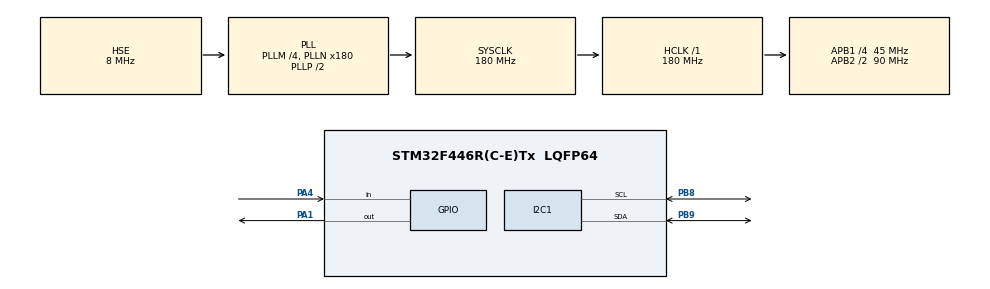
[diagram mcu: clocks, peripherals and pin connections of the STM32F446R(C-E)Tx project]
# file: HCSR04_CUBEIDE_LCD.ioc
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Mcu.Family=STM32F4
Mcu.Name=STM32F446R(C-E)Tx
Mcu.Package=LQFP64
NVIC.PriorityGroup=NVIC_PRIORITYGROUP_4
PA1.Signal=GPIO_Output
PA4.Signal=GPIO_Input
PB8.Mode=I2C
PB8.Signal=I2C1_SCL
PB9.Mode=I2C
PB9.Signal=I2C1_SDA
PH0-OSC_IN.Mode=HSE-External-Oscillator
PH0-OSC_IN.Signal=RCC_OSC_IN
PH1-OSC_OUT.Mode=HSE-External-Oscillator
PH1-OSC_OUT.Signal=RCC_OSC_OUT
ProjectManager.HeapSize=0x200
ProjectManager.StackSize=0x400
ProjectManager.TargetToolchain=STM32CubeIDE
RCC.AHBFreq_Value=180000000
RCC.APB1CLKDivider=RCC_HCLK_DIV4
RCC.APB1Freq_Value=45000000
RCC.APB1TimFreq_Value=90000000
RCC.APB2CLKDivider=RCC_HCLK_DIV2
RCC.APB2Freq_Value=90000000
RCC.APB2TimFreq_Value=180000000
RCC.CortexFreq_Value=180000000
RCC.HCLKFreq_Value=180000000
RCC.HSE_VALUE=8000000
RCC.PLLM=4
RCC.PLLN=180
RCC.PLLSourceVirtual=RCC_PLLSOURCE_HSE
RCC.SYSCLKFreq_VALUE=180000000
RCC.SYSCLKSource=RCC_SYSCLKSOURCE_PLLCLK
RCC.USBFreq_Value=180000000
RCC.VCOOutputFreq_Value=360000000
TIM1.Period=0xffff-1
TIM1.Prescaler=90-1
VP_TIM1_VS_ClockSourceINT.Mode=Internal
board=custom

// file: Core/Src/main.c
/* USER CODE BEGIN Header */
/**
  ******************************************************************************
  * @file           : main.c
  * @brief          : Main program body
  ******************************************************************************
  * @attention
  *
  * <h2><center>&copy; Copyright (c) 2019 STMicroelectronics.
  * All rights reserved.</center></h2>
  *
  * This software component is licensed by ST under BSD 3-Clause license,
  * the "License"; You may not use this file except in compliance with the
  * License. You may obtain a copy of the License at:
  *                        opensource.org/licenses/BSD-3-Clause
  *
  ******************************************************************************
  */
/* USER CODE END Header */

#include "main.h"

/* USER CODE BEGIN Includes */
#include "i2c-lcd.h"
/* USER CODE END Includes */

I2C_HandleTypeDef hi2c1;

TIM_HandleTypeDef htim1;

void SystemClock_Config(void);
static void MX_GPIO_Init(void);
static void MX_I2C1_Init(void);
static void MX_TIM1_Init(void);

/* USER CODE BEGIN 0 */
void delay (uint32_t us)
{
	__HAL_TIM_SET_COUNTER(&htim1, 0);
	while ((__HAL_TIM_GET_COUNTER(&htim1))<us);
}

uint32_t local_time, sensor_time;
uint32_t distance;

uint32_t hcsr04_read (void)
{
	local_time=0;
	HAL_GPIO_WritePin(GPIOA, GPIO_PIN_1, GPIO_PIN_RESET);  // pull the TRIG pin HIGH
	delay(2);  // wait for 2 us

	HAL_GPIO_WritePin(GPIOA, GPIO_PIN_1, GPIO_PIN_SET);  // pull the TRIG pin HIGH
	delay(10);  // wait for 10 us
	HAL_GPIO_WritePin(GPIOA, GPIO_PIN_1, GPIO_PIN_RESET);  // pull the TRIG pin low

	// read the time for which the pin is high

	while (!(HAL_GPIO_ReadPin(GPIOA, GPIO_PIN_4)));  // wait for the ECHO pin to go high
	while (HAL_GPIO_ReadPin(GPIOA, GPIO_PIN_4))    // while the pin is high
	 {
		local_time++;   // measure time for which the pin is high
		delay (1);
	 }
	return local_time;
}

/* USER CODE END 0 */

int main(void)
{

  /* MCU Configuration--------------------------------------------------------*/

  /* Reset of all peripherals, Initializes the Flash interface and the Systick. */
  HAL_Init();

  /* Configure the system clock */
  SystemClock_Config();

  /* Initialize all configured peripherals */
  MX_GPIO_Init();
  MX_I2C1_Init();
  MX_TIM1_Init();
  /* USER CODE BEGIN 2 */

  HAL_TIM_Base_Start(&htim1);

  lcd_init();

  /* USER CODE END 2 */

  /* Infinite loop */
  while (1)
  {

    /* USER CODE BEGIN 3 */
	  sensor_time = hcsr04_read();
	  distance  = sensor_time * .034/2;

	  lcd_send_cmd(0x80);
	  lcd_send_string("DIST ");
	  lcd_send_data((distance/100)+48);  // 100 position
	  lcd_send_data(((distance%100)/10)+48);  // 10 position
	  lcd_send_data((distance%10)+48);  // 1 position

	  HAL_Delay(200);
  }
  /* USER CODE END 3 */
}

void SystemClock_Config(void)
{
  RCC_OscInitTypeDef RCC_OscInitStruct = {0};
  RCC_ClkInitTypeDef RCC_ClkInitStruct = {0};

  /** Configure the main internal regulator output voltage
  */
  __HAL_RCC_PWR_CLK_ENABLE();
  __HAL_PWR_VOLTAGESCALING_CONFIG(PWR_REGULATOR_VOLTAGE_SCALE1);
  /** Initializes the CPU, AHB and APB busses clocks
  */
  RCC_OscInitStruct.OscillatorType = RCC_OSCILLATORTYPE_HSE;
  RCC_OscInitStruct.HSEState = RCC_HSE_ON;
  RCC_OscInitStruct.PLL.PLLState = RCC_PLL_ON;
  RCC_OscInitStruct.PLL.PLLSource = RCC_PLLSOURCE_HSE;
  RCC_OscInitStruct.PLL.PLLM = 4;
  RCC_OscInitStruct.PLL.PLLN = 180;
  RCC_OscInitStruct.PLL.PLLP = RCC_PLLP_DIV2;
  RCC_OscInitStruct.PLL.PLLQ = 2;
  RCC_OscInitStruct.PLL.PLLR = 2;
  if (HAL_RCC_OscConfig(&RCC_OscInitStruct) != HAL_OK)
  {
    Error_Handler();
  }
  /** Activate the Over-Drive mode
  */
  if (HAL_PWREx_EnableOverDrive() != HAL_OK)
  {
    Error_Handler();
  }
  /** Initializes the CPU, AHB and APB busses clocks
  */
  RCC_ClkInitStruct.ClockType = RCC_CLOCKTYPE_HCLK|RCC_CLOCKTYPE_SYSCLK
                              |RCC_CLOCKTYPE_PCLK1|RCC_CLOCKTYPE_PCLK2;
  RCC_ClkInitStruct.SYSCLKSource = RCC_SYSCLKSOURCE_PLLCLK;
  RCC_ClkInitStruct.AHBCLKDivider = RCC_SYSCLK_DIV1;
  RCC_ClkInitStruct.APB1CLKDivider = RCC_HCLK_DIV4;
  RCC_ClkInitStruct.APB2CLKDivider = RCC_HCLK_DIV2;

  if (HAL_RCC_ClockConfig(&RCC_ClkInitStruct, FLASH_LATENCY_5) != HAL_OK)
  {
    Error_Handler();
  }
}

static void MX_I2C1_Init(void)
{

  hi2c1.Instance = I2C1;
  hi2c1.Init.ClockSpeed = 100000;
  hi2c1.Init.DutyCycle = I2C_DUTYCYCLE_2;
  hi2c1.Init.OwnAddress1 = 0;
  hi2c1.Init.AddressingMode = I2C_ADDRESSINGMODE_7BIT;
  hi2c1.Init.DualAddressMode = I2C_DUALADDRESS_DISABLE;
  hi2c1.Init.OwnAddress2 = 0;
  hi2c1.Init.GeneralCallMode = I2C_GENERALCALL_DISABLE;
  hi2c1.Init.NoStretchMode = I2C_NOSTRETCH_DISABLE;
  if (HAL_I2C_Init(&hi2c1) != HAL_OK)
  {
    Error_Handler();
  }

}

static void MX_TIM1_Init(void)
{

  TIM_ClockConfigTypeDef sClockSourceConfig = {0};
  TIM_MasterConfigTypeDef sMasterConfig = {0};

  htim1.Instance = TIM1;
  htim1.Init.Prescaler = 90-1;
  htim1.Init.CounterMode = TIM_COUNTERMODE_UP;
  htim1.Init.Period = 0xffff-1;
  htim1.Init.ClockDivision = TIM_CLOCKDIVISION_DIV1;
  htim1.Init.RepetitionCounter = 0;
  htim1.Init.AutoReloadPreload = TIM_AUTORELOAD_PRELOAD_DISABLE;
  if (HAL_TIM_Base_Init(&htim1) != HAL_OK)
  {
    Error_Handler();
  }
  sClockSourceConfig.ClockSource = TIM_CLOCKSOURCE_INTERNAL;
  if (HAL_TIM_ConfigClockSource(&htim1, &sClockSourceConfig) != HAL_OK)
  {
    Error_Handler();
  }
  sMasterConfig.MasterOutputTrigger = TIM_TRGO_RESET;
  sMasterConfig.MasterSlaveMode = TIM_MASTERSLAVEMODE_DISABLE;
  if (HAL_TIMEx_MasterConfigSynchronization(&htim1, &sMasterConfig) != HAL_OK)
  {
    Error_Handler();
  }

}

static void MX_GPIO_Init(void)
{
  GPIO_InitTypeDef GPIO_InitStruct = {0};

  /* GPIO Ports Clock Enable */
  __HAL_RCC_GPIOH_CLK_ENABLE();
  __HAL_RCC_GPIOA_CLK_ENABLE();
  __HAL_RCC_GPIOB_CLK_ENABLE();

  /*Configure GPIO pin Output Level */
  HAL_GPIO_WritePin(GPIOA, GPIO_PIN_1, GPIO_PIN_RESET);

  /*Configure GPIO pin : PA1 */
  GPIO_InitStruct.Pin = GPIO_PIN_1;
  GPIO_InitStruct.Mode = GPIO_MODE_OUTPUT_PP;
  GPIO_InitStruct.Pull = GPIO_NOPULL;
  GPIO_InitStruct.Speed = GPIO_SPEED_FREQ_LOW;
  HAL_GPIO_Init(GPIOA, &GPIO_InitStruct);

  /*Configure GPIO pin : PA4 */
  GPIO_InitStruct.Pin = GPIO_PIN_4;
  GPIO_InitStruct.Mode = GPIO_MODE_INPUT;
  GPIO_InitStruct.Pull = GPIO_NOPULL;
  HAL_GPIO_Init(GPIOA, &GPIO_InitStruct);

}

void Error_Handler(void)
{
}

/************************ (C) COPYRIGHT STMicroelectronics *****END OF FILE****/
